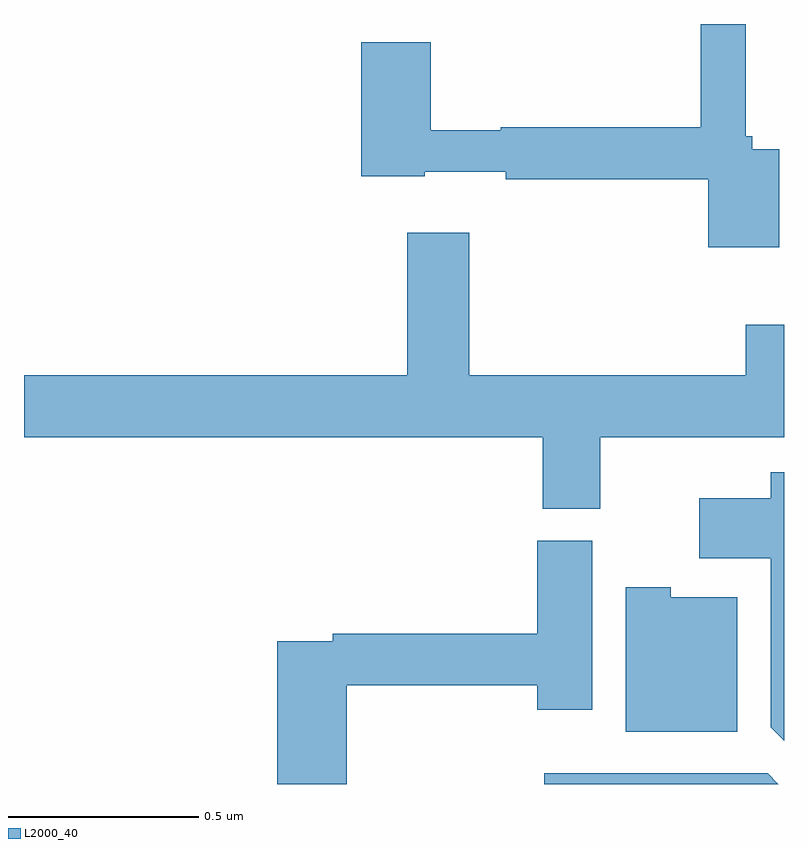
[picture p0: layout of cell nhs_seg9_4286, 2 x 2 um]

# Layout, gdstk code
import gdstk
lib = gdstk.Library(unit=1e-6, precision=1e-09)
def P(c, l, *ps):  # polygons
    for p in ps: c.add(gdstk.Polygon(p, *l))
L2000_40 = (2000, 40)

nhs_seg9_4286 = lib.new_cell('nhs_seg9_4286')
P(nhs_seg9_4286, L2000_40, [(165.988,1205.17),(165.916,1205.17),(165.916,1205.205),(165.899,1205.205),(165.899,1205.5),(165.781,1205.5),(165.781,1205.228),(165.254,1205.228),(165.254,1205.221),(165.071,1205.221),(165.071,1205.452),(164.888,1205.452),(164.888,1205.099),(165.054,1205.099),(165.054,1205.111),(165.268,1205.111),(165.268,1205.092),(165.8,1205.092),(165.8,1204.913),(165.988,1204.913)],
  [(165.517,1204.412),(166,1204.412),(166,1204.708),(165.899,1204.708),(165.899,1204.576),(165.172,1204.576),(165.172,1204.951),(165.008,1204.951),(165.008,1204.576),(164,1204.576),(164,1204.412),(165.365,1204.412),(165.365,1204.225),(165.517,1204.225)],
  [(166,1204.321),(165.965,1204.321),(165.965,1204.252),(165.777,1204.252),(165.777,1204.094),(165.965,1204.094),(165.965,1203.649),(166,1203.614)],
  [(164.849,1203.76),(165.35,1203.76),(165.35,1203.696),(165.496,1203.696),(165.496,1204.14),(165.35,1204.14),(165.35,1203.896),(164.812,1203.896),(164.812,1203.876),(164.666,1203.876),(164.666,1203.5),(164.849,1203.5)],
  [(165.877,1203.991),(165.702,1203.991),(165.702,1204.018),(165.584,1204.018),(165.584,1203.638),(165.877,1203.638)],
  [(165.957,1203.528),(165.369,1203.528),(165.369,1203.5),(165.985,1203.5)])

lib.write_gds('nhs_seg9_4286.gds')
